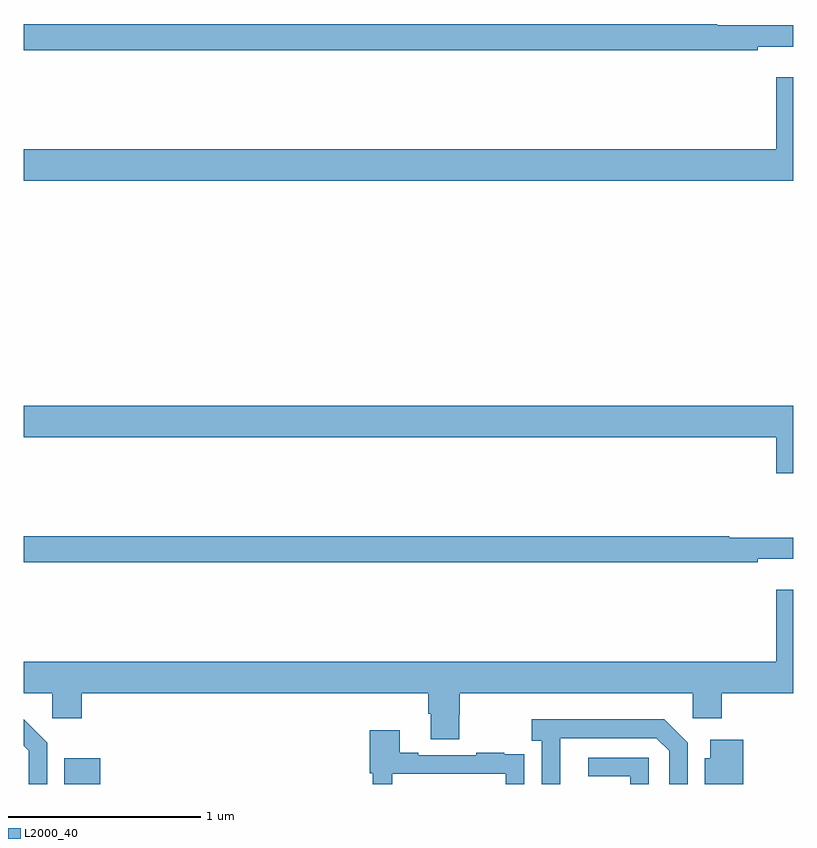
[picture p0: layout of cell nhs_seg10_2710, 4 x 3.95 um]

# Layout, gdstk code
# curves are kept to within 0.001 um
import gdstk
lib = gdstk.Library(unit=1e-6, precision=1e-09)
def R(c, l, rs):  # rectangles x0, y0, x1, y1
    for r in rs: c.add(gdstk.rectangle(r[:2], r[2:], *l))
def P(c, l, *ps):  # polygons
    for p in ps: c.add(gdstk.Polygon(p, *l))
L2000_40 = (2000, 40)

nhs_seg10_2710 = lib.new_cell('nhs_seg10_2710')
R(nhs_seg10_2710, L2000_40, [(257.21,1310.5,257.398,1310.635)])
P(nhs_seg10_2710, L2000_40, [(260.816,1314.335),(261,1314.335),(261,1314.445),(260.606,1314.445),(260.606,1314.452),(257,1314.452),(257,1314.316),(260.816,1314.316)],
  [(261,1314.175),(260.912,1314.175),(260.912,1313.8),(257,1313.8),(257,1313.636),(261,1313.636)],
  [(261,1312.468),(257,1312.468),(257,1312.304),(260.912,1312.304),(260.912,1312.116),(261,1312.116)],
  [(260.816,1311.671),(261,1311.671),(261,1311.781),(260.669,1311.781),(260.669,1311.788),(257,1311.788),(257,1311.652),(260.816,1311.652)],
  [(259.263,1310.859),(259.267,1310.859),(259.267,1310.972),(260.478,1310.972),(260.478,1310.841),(260.63,1310.841),(260.63,1310.972),(261,1310.972),(261,1311.511),(260.912,1311.511),(260.912,1311.136),(257,1311.136),(257,1310.972),(257.148,1310.972),(257.148,1310.841),(257.3,1310.841),(257.3,1310.972),(259.103,1310.972),(259.103,1310.866),(259.115,1310.866),(259.115,1310.734),(259.263,1310.734)],
  [(257.121,1310.715),(257,1310.836),(257,1310.698),(257.025,1310.673),(257.025,1310.5),(257.121,1310.5)],
  [(259.788,1310.539),(259.789,1310.739),(260.289,1310.739),(260.355,1310.673),(260.355,1310.5),(260.451,1310.5),(260.451,1310.715),(260.33,1310.836),(259.641,1310.836),(259.641,1310.726),(259.692,1310.726),(259.692,1310.5),(259.788,1310.5)],
  [(258.915,1310.553),(259.506,1310.553),(259.506,1310.5),(259.602,1310.5),(259.602,1310.546),(259.601,1310.546),(259.601,1310.655),(259.499,1310.655),(259.499,1310.662),(259.351,1310.662),(259.351,1310.649),(259.051,1310.649),(259.051,1310.662),(258.955,1310.662),(258.955,1310.779),(258.799,1310.779),(258.799,1310.556),(258.814,1310.556),(258.814,1310.5),(258.915,1310.5)],
  [(260.741,1310.731),(260.57,1310.731),(260.57,1310.635),(260.54,1310.635),(260.54,1310.5),(260.741,1310.5)],
  [(260.25,1310.637),(259.935,1310.637),(259.935,1310.541),(260.154,1310.541),(260.154,1310.5),(260.25,1310.5)])

lib.write_gds('nhs_seg10_2710.gds')
